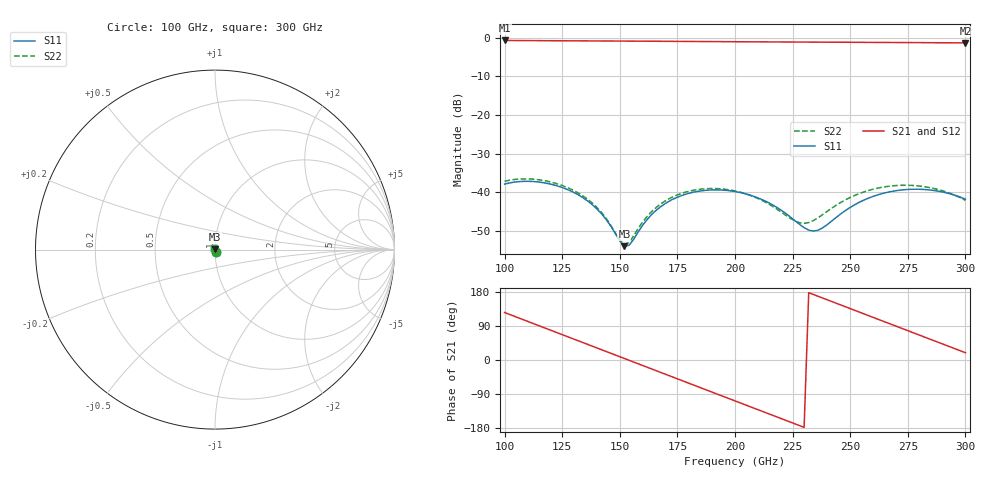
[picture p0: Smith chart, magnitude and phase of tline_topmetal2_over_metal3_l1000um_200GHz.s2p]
#  GHZ S DB R 50
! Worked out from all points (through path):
!   101 points, 100 GHz to 300 GHz, reference 50 ohm
!   highest |S21| = -0.67 dB at 100 GHz (marker M1); lowest = -1.3 dB at 300 GHz (marker M2)
!   group delay of S21, straight-line fit = 6.47 ps
!   lowest |S11| = -53.9 dB at 152 GHz (marker M3), VSWR 1.00, Z = 50 + j0.202 ohm
!   |S11| at or under -10 dB: start of sweep to end of sweep
!   |S22| runs from -53.5 to -36.5 dB; largest |S21 - S12| = 1e-13
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100  -37.85 -56.5  -0.67 125.2  -0.67 125.2  -37.11 -56.1
108  -37.14 -79.0  -0.70 106.6  -0.70 106.6  -36.50 -78.5
116  -37.41 -101.3  -0.73 87.9  -0.73 87.9  -36.83 -100.7
124  -38.53 -124.0  -0.75 69.3  -0.75 69.3  -38.00 -123.2
134  -41.36 -154.4  -0.78 46.0  -0.78 46.0  -40.91 -153.6
142  -45.48 175.5  -0.81 27.3  -0.81 27.3  -45.15 176.1
152  -53.91 89.7  -0.84 4.0  -0.84 4.0  -53.51 86.1
154  -53.69 58.2  -0.84 -0.7  -0.84 -0.7  -52.96 54.9
162  -46.92 -12.1  -0.87 -19.4  -0.87 -19.4  -46.10 -11.7
168  -43.58 -38.1  -0.89 -33.4  -0.89 -33.4  -42.87 -36.9
184  -39.71 -92.1  -0.95 -70.7  -0.95 -70.7  -39.24 -90.3
192  -39.35 -117.5  -0.97 -89.3  -0.97 -89.3  -39.01 -115.7
200  -39.77 -143.1  -1.00 -107.9  -1.00 -107.9  -39.61 -141.8
208  -40.99 -169.8  -1.03 -126.6  -1.03 -126.6  -41.07 -169.8
218  -43.82 152.4  -1.06 -149.8  -1.06 -149.8  -44.26 147.7
228  -48.26 98.2  -1.09 -173.1  -1.09 -173.1  -47.85 80.8
234  -50.00 46.6  -1.10 172.9  -1.10 172.9  -47.29 30.1
242  -47.40 -19.3  -1.13 154.3  -1.13 154.3  -44.07 -20.3
252  -43.18 -69.3  -1.15 131.0  -1.15 131.0  -40.77 -63.0
268  -39.75 -127.0  -1.20 93.7  -1.20 93.7  -38.32 -118.2
282  -39.23 -173.5  -1.24 61.1  -1.24 61.1  -38.49 -164.6
300  -41.75 122.5  -1.30 19.2  -1.30 19.2  -42.03 126.6
